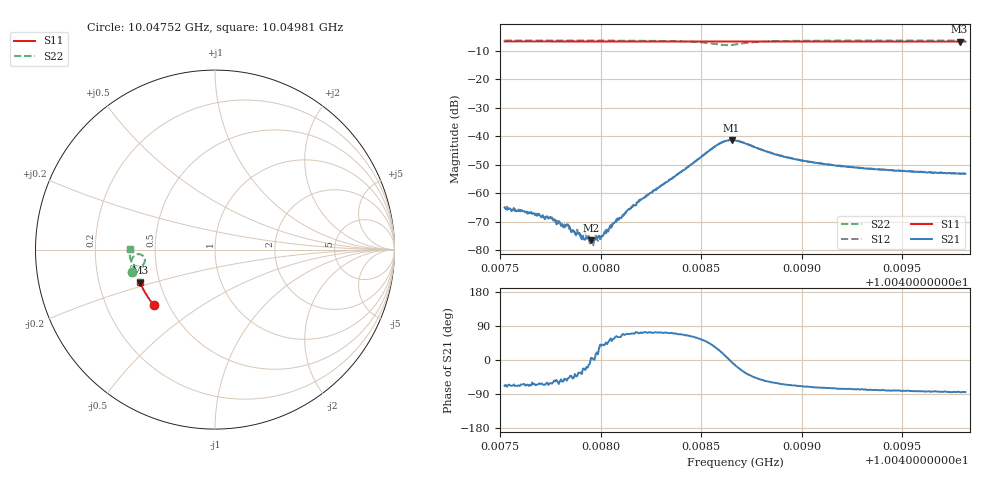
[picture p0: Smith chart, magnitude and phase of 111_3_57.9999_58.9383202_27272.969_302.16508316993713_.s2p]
#  HZ  S  RI  R  50.00
! Rohde & Schwarz Vector Network Analyzer
! Rohde-Schwarz,ZNB20-2Port,1311601062101988,3.16
! Created: UTC 3/21/2024, 12:55:13 AM
! freq[Hz]  re:S11  im:S11  re:S21  im:S21  re:S12  im:S12  re:S22  im:S22
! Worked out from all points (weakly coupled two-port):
!   401 points, 10.04752 GHz to 10.04981 GHz, reference 50 ohm
!   highest |S21| = -41.36 dB at 10.04865 GHz (marker M1); lowest = -76.6 dB at 10.04795 GHz (marker M2)
!   lowest |S11| = -6.8 dB at 10.04979 GHz (marker M3), VSWR 2.68, Z = 19.4 - j9.04 ohm
!   |S11| at or under -10 dB: nowhere
!   |S22| runs from -8.1 to -6.4 dB; largest |S21 - S12| = 0.00061
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1.0047522e10  -0.3388 -0.3114  0.000212 -0.000523  0.000249 -0.000472  -0.4605 -0.1276
1.0047699e10  -0.3465 -0.3022  0.000176 -0.000358  0.000221 -0.000375  -0.4632 -0.1149
1.0047757e10  -0.3488 -0.2993  0.000166 -0.00032  0.000241 -0.000289  -0.4639 -0.1105
1.0047814e10  -0.3513 -0.2961  0.000145 -0.00022  0.000161 -0.000193  -0.4646 -0.106
1.0047837e10  -0.3521 -0.2949  0.000184 -0.000204  0.000204 -0.000198  -0.4649 -0.1042
1.0047866e10  -0.3533 -0.2935  0.000149 -0.00016  0.000164 -0.000141  -0.4653 -0.1021
1.0047883e10  -0.354 -0.2925  0.000148 -0.000135  0.000189 -0.00013  -0.4655 -0.1008
1.0047906e10  -0.355 -0.2912  0.000124 -9.38e-05  0.000154 -7.21e-05  -0.4657 -0.0988
1.0047929e10  -0.3558 -0.2902  0.000158 -5.36e-05  0.00017 -4.23e-05  -0.4659 -0.0971
1.0047952e10  -0.3568 -0.289  0.000148 1.47e-05  0.000164 -3.19e-05  -0.4662 -0.0952
1.0048003e10  -0.3589 -0.2862  0.00014 0.000111  0.000142 9.4e-05  -0.4666 -0.0908
1.0048152e10  -0.3648 -0.2783  0.000195 0.000526  0.000144 0.000555  -0.4671 -0.077
1.004829e10  -0.3699 -0.2708  0.000384 0.00122  0.000323 0.00123  -0.4656 -0.0617
1.004857e10  -0.3798 -0.2549  0.00558 0.00371  0.00534 0.00407  -0.4139 -0.0274
1.0048616e10  -0.381 -0.2525  0.00795 0.00181  0.00786 0.00229  -0.3938 -0.0465
1.0048651e10  -0.3822 -0.2507  0.00852 -0.00077  0.00859 -0.000217  -0.3923 -0.0697
1.0048668e10  -0.3829 -0.25  0.0082 -0.002  0.00839 -0.00141  -0.3971 -0.08
1.004888e10  -0.3904 -0.2383  0.00222 -0.0041  0.00249 -0.00404  -0.4596 -0.0784
1.0049052e10  -0.3962 -0.2283  0.0011 -0.0033  0.00131 -0.00326  -0.4699 -0.0573
1.0049436e10  -0.4077 -0.2056  0.000445 -0.00252  0.000549 -0.00248  -0.4754 -0.0234
1.0049785e10  -0.4169 -0.1845  0.00021 -0.00218  0.000372 -0.0022  -0.4763 0.00274
1.0049814e10  -0.4178 -0.1829  0.000212 -0.00218  0.00033 -0.00219  -0.4763 0.00476
